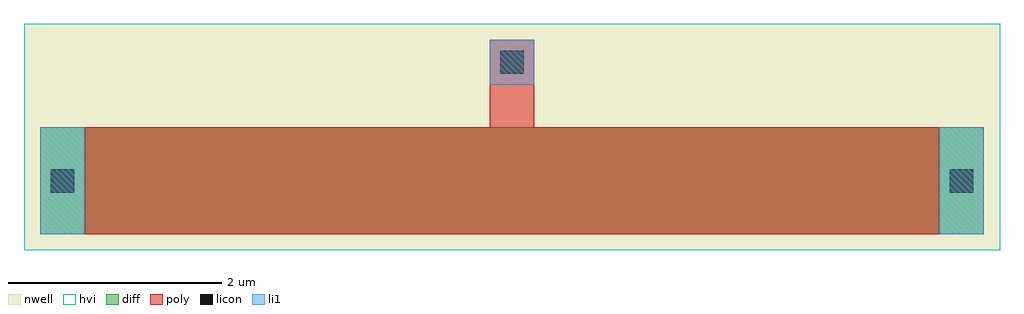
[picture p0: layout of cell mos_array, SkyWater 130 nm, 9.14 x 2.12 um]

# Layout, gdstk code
import gdstk
lib = gdstk.Library(unit=1e-6, precision=1e-09)
def R(c, l, rs):  # rectangles x0, y0, x1, y1
    for r in rs: c.add(gdstk.rectangle(r[:2], r[2:], *l))
nwell = (64, 20)
diff = (65, 20)
poly = (66, 20)
licon = (66, 44)
li1 = (67, 20)
hvi = (75, 20)

mos_array = lib.new_cell('mos_array')
R(mos_array, nwell, [(-0.15,-0.15,8.99,1.97)])
R(mos_array, diff, [(0,0,8.84,1)])
R(mos_array, poly, [(0.42,0,8.42,1), (4.21,1,4.63,1.82)])
R(mos_array, licon, [(0.1,0.39,0.32,0.61), (8.52,0.39,8.74,0.61), (4.31,1.5,4.53,1.72)])
R(mos_array, li1, [(0,0,0.42,1), (8.42,0,8.84,1), (4.21,1.4,4.63,1.82)])
R(mos_array, hvi, [(-0.15,-0.15,8.99,1.97)])

lib.write_gds('mos_array.gds')
